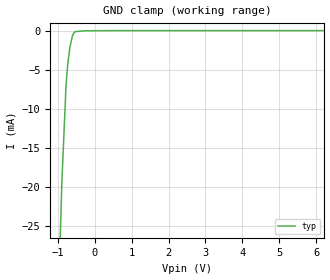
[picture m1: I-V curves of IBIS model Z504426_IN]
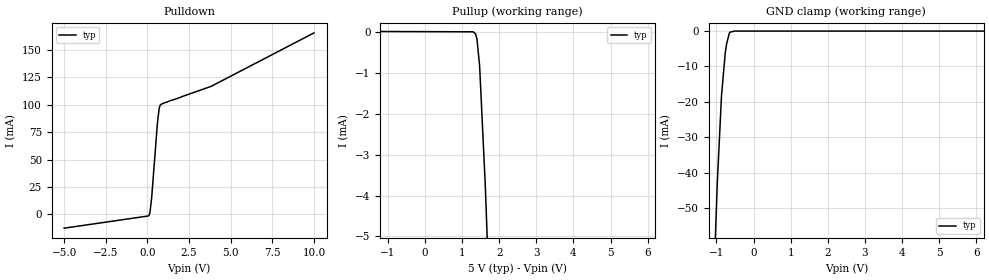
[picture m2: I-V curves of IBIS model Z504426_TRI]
| YOU ARE ONLY AUTHORIZED TO USE THIS SOFTWARE
| ACCORDING TO LICENSOR'S LICENSE RESTRICTIONS.
[IBIS Ver] 3.1
[File Name] sn54ls257bj.ibs
[File Rev] 2.0
[Source] Measured and created by ICX Technology
[Date] Friday 7/14/00 9:08:14 AM
[Copyright]
| (C) COPYRIGHT 1993-2000
| MENTOR GRAPHICS CORPORATION
| ICX STANDARD LIBRARY, ICX PROJECT MODELING,
| ICX CUSTOM MODELING, ICX VENDOR MODEL
| ALL RIGHTS RESERVED.
| THE FOLLOWING ARE TRADEMARKS OR SERVICE MARKS OF
| MENTOR GRAPHICS CORPORATION:ICX (R), ICX STANDARD
| LIBRARY(R), ICX PROJECT MODELING(R), ICX CUSTOM
| MODELING(R), qualityIBIS(TM), MODELVIEWER(TM),
| AND MODELEDITOR(TM)
| ALL COPIES OF SOFTWARE, INCLUDING BUT NOT LIMITED TO
| ANY MODIFICATIONS, ENHANCEMENTS OR DERIVATIVE WORKS,
| MUST CONTAIN ALL MENTOR GRAPHICS CORPORATION'S
| NOTICES AND LEGENDS, INCLUDING THOSE EMBEDDED IN
| SOFTWARE AND THOSE AFFIXED TO SOFTWARE MEDIUM
| AND CONTAINER, AS RECEIVED FROM MENTOR GRAPHICS
| CORPORATION.
|  ZAP Model Builder 2.7
[Component] SN54LS257BJ
[Manufacturer] OnSemiconductor
[Package]
| variable   typ   min   max
R_pkg  .212ohms NA NA
L_pkg  4.758nH NA NA
C_pkg  1.944pF NA NA
[Pin] signal_name  model_name  R_pin  L_pin C_pin
1 B_A Z504426_IN .224 7.258n 2.683p
2 A0 Z504426_IN .216 5.258n 2.19p
3 B0 Z504426_IN .208 3.758n 1.697p
4 Y0 Z504426_TRI .2 2.758n 1.204p
5 A1 Z504426_IN .2 2.758n 1.204p
6 B1 Z504426_IN .208 3.758n 1.697p
7 Y1 Z504426_TRI .216 5.258n 2.19p
8 GND GND .224 7.258n 2.683p
9 Y2 Z504426_TRI .224 7.258n 2.683p
10 B2 Z504426_IN .216 5.258n 2.19p
11 A2 Z504426_IN .208 3.758n 1.697p
12 Y3 Z504426_TRI .2 2.758n 1.204p
13 B3 Z504426_IN .2 2.758n 1.204p
14 A3 Z504426_IN .208 3.758n 1.697p
15 _G Z504426_IN .216 5.258n 2.19p
16 VCC POWER .224 7.258n 2.683p
| Models and submodels in the file (2): Z504426_IN (Input), Z504426_TRI (3-state)
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| (C) COPYRIGHT 1993-2000
| MENTOR GRAPHICS CORPORATION
| ICX STANDARD LIBRARY, ICX PROJECT MODELING,
| ICX CUSTOM MODELING, ICX VENDOR MODEL
| ALL RIGHTS RESERVED.
| THE FOLLOWING ARE TRADEMARKS OR SERVICE MARKS OF
| MENTOR GRAPHICS CORPORATION:ICX (R), ICX STANDARD
| LIBRARY(R), ICX PROJECT MODELING(R), ICX CUSTOM
| MODELING(R), qualityIBIS(TM), MODELVIEWER(TM),
| AND MODELEDITOR(TM)
| ALL COPIES OF SOFTWARE, INCLUDING BUT NOT LIMITED TO
| ANY MODIFICATIONS, ENHANCEMENTS OR DERIVATIVE WORKS,
| MUST CONTAIN ALL MENTOR GRAPHICS CORPORATION'S
| NOTICES AND LEGENDS, INCLUDING THOSE EMBEDDED IN
| SOFTWARE AND THOSE AFFIXED TO SOFTWARE MEDIUM
| AND CONTAINER, AS RECEIVED FROM MENTOR GRAPHICS
| CORPORATION.
| Model Application Version 1.89 2/18/99.
[Model] Z504426_IN
Model_type Input
Vinl = 800.0mV
Vinh = 2.000V
C_comp 4.000pF NA NA
| variable typ   min   max
[Voltage Range] 5.000V NA NA
[GND Clamp Reference] 0.000V NA NA
[POWER Clamp Reference] 5.000V NA NA
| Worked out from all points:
|   GND clamp passes 1 mA (typ) near -0.62 V on its own axis
[GND Clamp]
-5V       -685.9mA   NA         NA
-888.3mV  -19.67mA   NA         NA
-775.8mV  -7.188mA   NA         NA
-727.5mV  -4.233mA   NA         NA
-665mV    -2.003mA   NA         NA
-601.6mV  -687.5uA   NA         NA
-566.4mV  -327.2uA   NA         NA
-529.6mV  -129.1uA   NA         NA
-264.8mV  -13.27uA   NA         NA
409.9mV   5.99uA     NA         NA
10V       13.84uA    NA         NA
[POWER Clamp]
-5V       0A         NA         NA
10V       0A         NA         NA
| (C) COPYRIGHT 1993-2000
| MENTOR GRAPHICS CORPORATION
| ICX STANDARD LIBRARY, ICX PROJECT MODELING,
| ICX CUSTOM MODELING, ICX VENDOR MODEL
| ALL RIGHTS RESERVED.
| THE FOLLOWING ARE TRADEMARKS OR SERVICE MARKS OF
| MENTOR GRAPHICS CORPORATION:ICX (R), ICX STANDARD
| LIBRARY(R), ICX PROJECT MODELING(R), ICX CUSTOM
| MODELING(R), qualityIBIS(TM), MODELVIEWER(TM),
| AND MODELEDITOR(TM)
| ALL COPIES OF SOFTWARE, INCLUDING BUT NOT LIMITED TO
| ANY MODIFICATIONS, ENHANCEMENTS OR DERIVATIVE WORKS,
| MUST CONTAIN ALL MENTOR GRAPHICS CORPORATION'S
| NOTICES AND LEGENDS, INCLUDING THOSE EMBEDDED IN
| SOFTWARE AND THOSE AFFIXED TO SOFTWARE MEDIUM
| AND CONTAINER, AS RECEIVED FROM MENTOR GRAPHICS
| CORPORATION.
| Model Application Version 1.89 2/18/99.
[Model] Z504426_TRI
Model_type 3-state
Vref=588.0mV
Rref=588.5ohms
Cref=45.00pF
Vmeas=1.300V
C_comp 8.000pF NA NA
| variable typ   min   max
[Voltage Range] 5.000V NA NA
[POWER Clamp Reference] 5.000V NA NA
[Pullup Reference] 5.000V NA NA
[Pulldown Reference] 0.000V NA NA
[GND Clamp Reference] 0.000V NA NA
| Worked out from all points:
|   slope of the pulldown table from 0 to 0.75 V, typ, clamps not added: 7.46 ohm
|   GND clamp passes 1 mA (typ) near -0.66 V on its own axis
[GND Clamp]
-5V       -1.853A    NA         NA
-1.211V   -192.4mA   NA         NA
-1.108V   -87.76mA   NA         NA
-1.069V   -71.03mA   NA         NA
-976.6mV  -43.21mA   NA         NA
-862.7mV  -18.36mA   NA         NA
-760.4mV  -6.073mA   NA         NA
-722.7mV  -3.488mA   NA         NA
-644mV    -345.3uA   NA         NA
-515.2mV  0A         NA         NA
10V       0A         NA         NA
[Pulldown]
-5V       -12.56mA   NA         NA
48.87mV   -1.453mA   NA         NA
107.4mV   -293.9uA   NA         NA
150.7mV   1.728mA    NA         NA
252.4mV   15.16mA    NA         NA
595.8mV   82.81mA    NA         NA
703.1mV   96.62mA    NA         NA
757.5mV   99.34mA    NA         NA
796.1mV   100mA      NA         NA
3.813V    116.6mA    NA         NA
10V       165.4mA    NA         NA
[Pullup]
-5V       18.81uA    NA         NA
1.301V    676.7nA    NA         NA
1.364V    -50.92uA   NA         NA
1.402V    -171.4uA   NA         NA
1.474V    -835.8uA   NA         NA
1.625V    -3.724mA   NA         NA
10V       -209.5mA   NA         NA
[POWER Clamp]
-5V       0A         NA         NA
10V       0A         NA         NA
[Ramp]
| variable typ min max
dV/dt_r 1.891/6.907n NA NA
dV/dt_f 1.891/2.514n NA NA
R_load = 500.0Ohms
